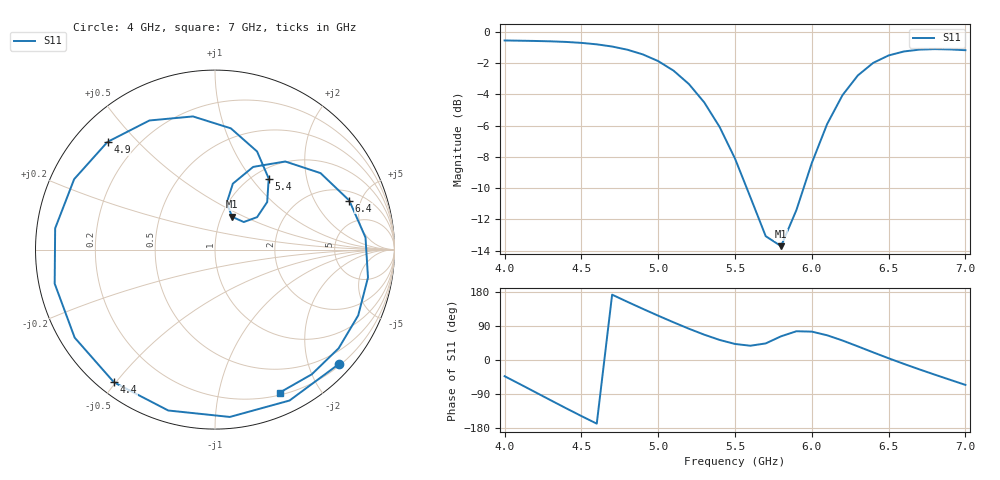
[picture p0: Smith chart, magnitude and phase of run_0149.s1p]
! Touchstone file exported from HFSS 2024.2.0
!  File:  C:/Users/wsak9/Desktop/Sim Fast/Widenad Patch/WP_AI_V1_sweep.aedt
!  Generated:  09:07:50 PM Oct 13, 2026
!  Design:  A1_model
!  Project:  WP_AI_V1_sweep
!  Setup:  Setup1
!  Solution:  Sweep
! Variables:
!  Air_gap = 3.39mm
!  Curve_Amp1 = 1.34
!  Curve_len1 = 1
!  Curve_pos = 10.525mm
!  Extra = 0.83mm
!  H_sub = 0.79mm
!  L_Patch = 17.05mm
!  L_Patch1 = 15.14mm
!  Sx = 2.98mm
!  Sy = 4.28mm
!  WS = 0.94mm
!  W_Patch = 14.46mm
!  W_Patch1 = 14.31mm
!Data is not renormalized
# GHz S MA
! Terminal data exported
! Port[1] = 1
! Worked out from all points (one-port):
!   31 points, 4 GHz to 7 GHz, reference per port
!   lowest |S11| = -13.7 dB at 5.8 GHz (marker M1), VSWR 1.52
!   |S11| at or under -10 dB: 5.577 GHz to 5.946 GHz (369.7 MHz wide, 6.42 % of centre)
!   S11 on the Smith chart (normalised r, x): 4 GHz: 0.23, -2.53; 4.4 GHz: 0.05, -0.49; 4.9 GHz: 0.10, +0.41; 5.4 GHz: 1.16, +1.22; 6.4 GHz: 2.65, +3.96; 7 GHz: 0.23, -1.53
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4  0.9396 -42.8
4.1  0.9378 -63.7
4.2  0.936 -84.9
4.3  0.9335 -106.2
4.4  0.9294 -127.3
4.5  0.923 -147.9
4.6  0.9131 -168.0
4.7  0.8984 172.4
4.8  0.8774 153.4
4.9  0.8477 134.9
5  0.8069 116.9
5.1  0.752 99.4
5.2  0.6813 82.5
5.3  0.5948 66.8
5.4  0.4964 52.9
5.5  0.3933 42.3
5.7  0.2219 43.8
5.8  0.2062 62.5
5.9  0.2693 75.9
6  0.3806 74.9
6.1  0.5075 65.2
6.2  0.6279 51.4
6.3  0.7262 35.9
6.4  0.7966 20.1
6.5  0.8413 4.6
6.7  0.8781 -24.7
6.9  0.8795 -52.2
7  0.8744 -65.7
